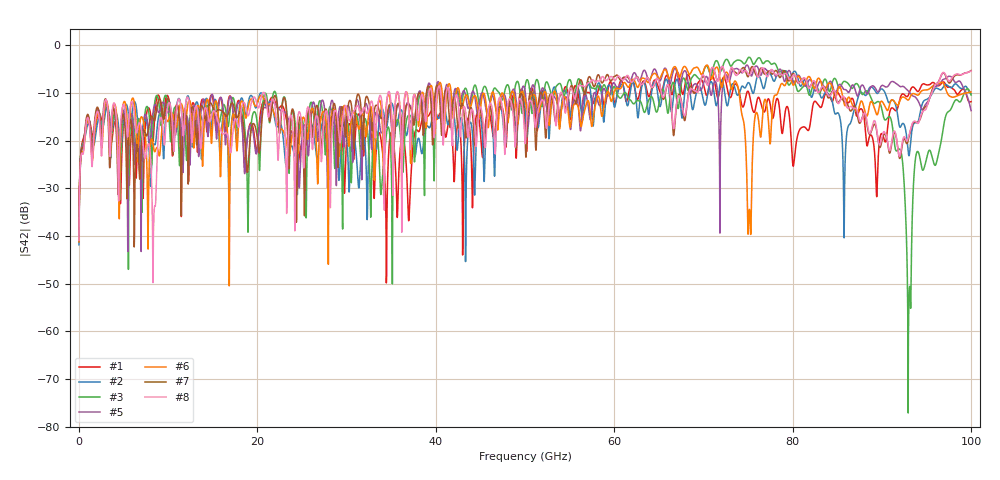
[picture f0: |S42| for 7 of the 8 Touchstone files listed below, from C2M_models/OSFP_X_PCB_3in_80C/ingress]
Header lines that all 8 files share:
# GHz S RI R 45
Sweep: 25 MHz to 100 GHz
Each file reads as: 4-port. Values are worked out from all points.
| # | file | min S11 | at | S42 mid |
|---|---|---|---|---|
| 1 | C2M_X_OSFP224_3in_host_PCB_80C_NEXT_TP5_Tx1_to_TP5_Rx8.s4p | -49.8 dB | 11.1 GHz | -14.8 dB at 50.02 GHz |
| 2 | C2M_X_OSFP224_3in_host_PCB_80C_NEXT_TP5_Tx2_to_TP5_Rx8.s4p | -49.8 dB | 11.1 GHz | -13.8 dB at 50.02 GHz |
| 3 | C2M_X_OSFP224_3in_host_PCB_80C_NEXT_TP5_Tx3_to_TP5_Rx8.s4p | -49.8 dB | 11.1 GHz | -8.6 dB at 50.02 GHz |
| 4 | C2M_X_OSFP224_3in_host_PCB_80C_NEXT_TP5_Tx4_to_TP5_Rx8.s4p | -49.8 dB | 11.1 GHz | -8.6 dB at 50.02 GHz |
| 5 | C2M_X_OSFP224_3in_host_PCB_80C_NEXT_TP5_Tx5_to_TP5_Rx8.s4p | -49.8 dB | 11.1 GHz | -9.6 dB at 50.02 GHz |
| 6 | C2M_X_OSFP224_3in_host_PCB_80C_NEXT_TP5_Tx6_to_TP5_Rx8.s4p | -49.8 dB | 11.1 GHz | -11.3 dB at 50.02 GHz |
| 7 | C2M_X_OSFP224_3in_host_PCB_80C_NEXT_TP5_Tx7_to_TP5_Rx8.s4p | -49.8 dB | 11.1 GHz | -19.2 dB at 50.02 GHz |
| 8 | C2M_X_OSFP224_3in_host_PCB_80C_NEXT_TP5_Tx8_to_TP5_Rx8.s4p | -49.8 dB | 11.1 GHz | -20.6 dB at 50.02 GHz |
